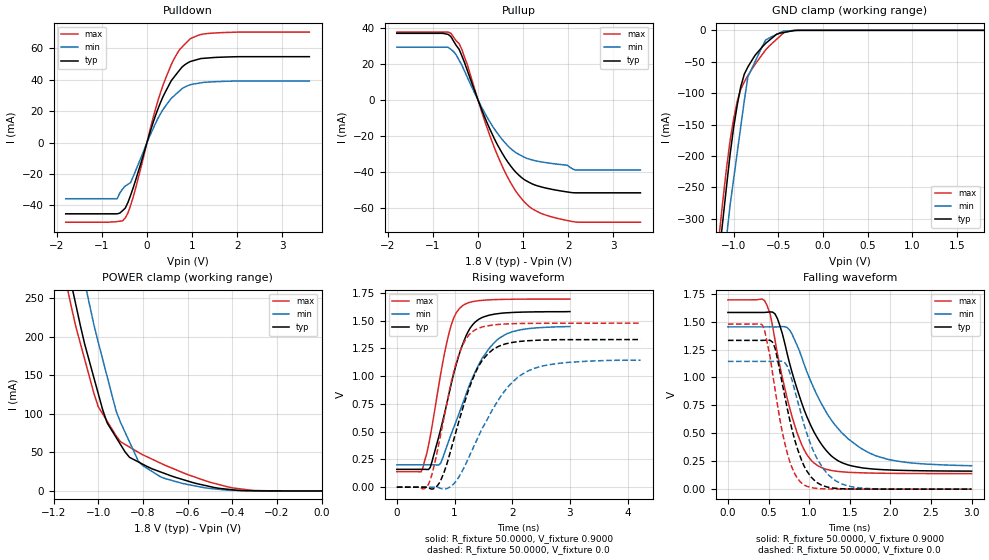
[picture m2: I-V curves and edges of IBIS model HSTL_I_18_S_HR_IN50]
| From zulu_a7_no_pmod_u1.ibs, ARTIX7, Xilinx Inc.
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[Model]  HSTL_I_18_S_HR_IN50
Model_type I/O
Polarity   Non-Inverting
Enable   Active-Low
Vinl = 0.8
Vinh = 1.0
Vmeas =  0.9000V
Cref =   0.0F
Rref =   50.0000
Vref =   0.9000V
C_comp   7.22pF   7.07pF   7.26pF
[Model Spec]
Vinl   0.8   0.755   0.845
Vinh   1.0   0.955   1.045
[Temperature Range]   25.0000   85.0000   0.0
[Voltage Range]   1.8000V   1.7100V   1.8900V
[Add Submodel]
| Submodel Name   Mode
IN50_1V8   Non-Driving
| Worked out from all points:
|   slope of the pulldown table from 0 to 0.27 V, typ, clamps not added: 11.6 ohm
|   slope of the pullup table from 0 to 0.27 V, typ, clamps not added: 16.3 ohm
|   GND clamp passes 1 mA (typ) near -0.35 V on its own axis
|   POWER clamp passes 1 mA (typ) near -0.38 V on its own axis
|   rising waveform, R_fixture 50.0000, V_fixture 0.9000: 20-80 % time 427ps typ, 608ps min, 326ps max; typ from 0.16 V to 1.58 V
|   rising waveform, R_fixture 50.0000, V_fixture 0.0: 20-80 % time 493ps typ, 733ps min, 377ps max; typ from 0 V to 1.33 V
|   falling waveform, R_fixture 50.0000, V_fixture 0.9000: 20-80 % time 410ps typ, 571ps min, 312ps max; typ from 1.58 V to 0.162 V
|   falling waveform, R_fixture 50.0000, V_fixture 0.0: 20-80 % time 267ps typ, 323ps min, 222ps max; typ from 1.33 V to 0 V
[Pulldown]
|Voltage   I(typ)   I(min)   I(max)
-1.8V     -45.32mA   -35.7mA    -50.65mA
-660mV    -45.32mA   -35.7mA    -50.24mA
-480mV    -41.68mA   -27.58mA   -47.95mA
-360mV    -33.41mA   -25.34mA   -39.82mA
-180mV    -17.38mA   -12.9mA    -21.18mA
120mV     11.31mA    7.805mA    14.01mA
360mV     29.51mA    21.22mA    36.94mA
660mV     43.9mA     31.33mA    56.28mA
960mV     51.68mA    36.92mA    66.2mA
1.2V      53.59mA    38.12mA    68.92mA
1.62V     54.4mA     38.95mA    70.01mA
3.6V      54.76mA    39.24mA    70.42mA
[Pullup]
|Voltage   I(typ)   I(min)   I(max)
-1.8V     37.13mA    29.44mA    37.82mA
-660mV    36.53mA    29.34mA    37.82mA
-420mV    28.27mA    22.21mA    31.42mA
-240mV    16.66mA    12.84mA    19.91mA
120mV     -7.77mA    -5.891mA   -9.469mA
420mV     -24.41mA   -18.1mA    -30.11mA
780mV     -38.52mA   -28.18mA   -48.45mA
1.14V     -45.88mA   -32.88mA   -59.38mA
1.5V      -48.96mA   -34.81mA   -64.01mA
1.98V     -51.15mA   -36.29mA   -67.04mA
2.16V     -51.63mA   -38.91mA   -67.89mA
3.6V      -51.63mA   -38.91mA   -67.97mA
[GND_clamp]
|Voltage   I(typ)   I(min)   I(max)
-1.8V     -1.3A      -1.383A    -1.269A
-1.16V    -354.6mA   -439.8mA   -324.3mA
-1.12V    -302.1mA   -385.6mA   -271mA
-1.08V    -249.6mA   -331.5mA   -220.2mA
-1.04V    -198.4mA   -279.1mA   -176.4mA
-1V       -155.1mA   -237.2mA   -141.3mA
-920mV    -89.8mA    -153.5mA   -94.15mA
-840mV    -58.25mA   -73.96mA   -72.03mA
-640mV    -20.56mA   -15.08mA   -30.83mA
-440mV    -3.491mA   -1.134mA   -4.002mA
-320mV    -244.3uA   -336.4uA   -177uA
1.8V      18.39nA    526.7nA    1.722nA
[POWER_clamp]
|Voltage   I(typ)   I(min)   I(max)
-1.8V     1.291A     1.371A     1.26A
-1.14V    295.4mA    379.9mA    265.9mA
-1.1V     241.8mA    323.9mA    213.3mA
-1.06V    190.2mA    270.4mA    170.4mA
-1.04V    169mA      243.7mA    149mA
-1V       126.7mA    193.5mA    109.5mA
-960mV    88.44mA    148.7mA    90.62mA
-900mV    60.26mA    89.03mA    63.94mA
-800mV    34.61mA    32.77mA    46.9mA
-620mV    14.69mA    9.564mA    23.62mA
-400mV    1.544mA    680.9uA    4.021mA
0V        0A         0A         0A
[Ramp]
| variable   typ   min   max
dV/dt_r  0.7980/0.4974n   0.6750/0.7076n   0.8868/0.3792n
dV/dt_f  0.8665/0.5747n   0.7345/0.8429n   0.9539/0.4084n
R_load = 50.0000
[Rising Waveform]
R_fixture= 50.0000
V_fixture= 0.9000
V_fixture_min= 0.8550
V_fixture_max= 0.9450
|time   V(typ)   V(min)   V(max)
0s        160mV      200.7mV    138.9mV
450ps     160mV      200.7mV    170.4mV
580ps     178.8mV    200.7mV    456.9mV
760ps     520.1mV    215.7mV    1.018V
940ps     924.5mV    474.1mV    1.455V
1.09ns    1.211V     680.3mV    1.613V
1.33ns    1.473V     1.007V     1.673V
1.76ns    1.564V     1.336V     1.691V
2.15ns    1.577V     1.419V     1.694V
3ns       1.582V     1.447V     1.695V
[Rising Waveform]
R_fixture= 50.0000
V_fixture= 0.0
|time   V(typ)   V(min)   V(max)
0s        0V         0V         0V
550.8ps   -5.878mV   4.523uV    28.52mV
762.6ps   63.49mV    -11.46mV   481.2mV
1.031ns   510.6mV    56.87mV    1.123V
1.172ns   760mV      182.8mV    1.312V
1.328ns   990mV      358.8mV    1.408V
1.667ns   1.24V      705.9mV    1.461V
1.963ns   1.3V       924.5mV    1.472V
2.274ns   1.32V      1.047V     1.476V
4.223ns   1.33V      1.144V     1.478V
[Falling Waveform]
R_fixture= 50.0000
V_fixture= 0.9000
V_fixture_min= 0.8550
V_fixture_max= 0.9450
|time   V(typ)   V(min)   V(max)
0s        1.582V     1.453V     1.695V
450ps     1.582V     1.453V     1.69V
520ps     1.587V     1.453V     1.569V
610ps     1.526V     1.452V     1.21V
820ps     971.7mV    1.339V     576.2mV
940ps     707mV      1.115V     350.3mV
1.09ns    473mV      853mV      218.5mV
1.36ns    252.8mV    539.6mV    158.6mV
1.73ns    184.4mV    328.4mV    144.7mV
3ns       161.5mV    210mV      139.3mV
[Falling Waveform]
R_fixture= 50.0000
V_fixture= 0.0
|time   V(typ)   V(min)   V(max)
0s        1.332V     1.144V     1.478V
420ps     1.332V     1.144V     1.473V
550ps     1.316V     1.144V     1.037V
640ps     1.053V     1.146V     623.8mV
730ps     724.5mV    1.102V     325.2mV
820ps     447.2mV    892.7mV    141.7mV
940ps     203.9mV    571.6mV    36.12mV
1.12ns    49.01mV    245.3mV    5.081mV
1.39ns    4.253mV    50.61mV    886.2uV
3ns       129.8uV    314.1uV    74.72uV
